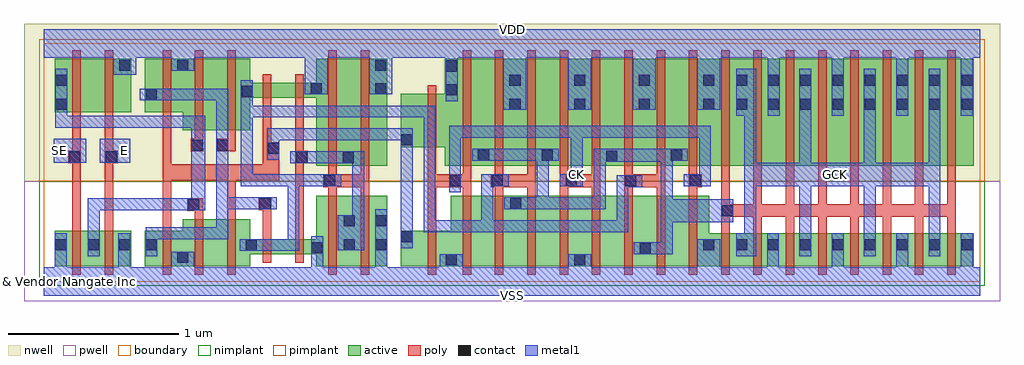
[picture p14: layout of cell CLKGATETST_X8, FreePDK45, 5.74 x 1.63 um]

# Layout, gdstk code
import gdstk
lib = gdstk.Library(unit=1e-6, precision=1e-09)
def R(c, l, rs):  # rectangles x0, y0, x1, y1
    for r in rs: c.add(gdstk.rectangle(r[:2], r[2:], *l))
def A(c, l, x, y, w, h, nx, ny, dx, dy):  # array of equal rectangles
    R(c, l, [(x+i*dx, y+j*dy, x+i*dx+w, y+j*dy+h) for i in range(nx) for j in range(ny)])
def P(c, l, *ps):  # polygons
    for p in ps: c.add(gdstk.Polygon(p, *l))
active = (1, 0)
pwell = (2, 0)
nwell = (3, 0)
nimplant = (4, 0)
pimplant = (5, 0)
poly = (9, 0)
contact = (10, 0)
metal1 = (11, 0)
boundary = (235, 0)

clkgatetst_x8 = lib.new_cell('CLKGATETST_X8')
R(clkgatetst_x8, active, [(0.065,0.09,0.515,0.3), (0.065,0.995,0.515,1.31)])
P(clkgatetst_x8, active, [(0.595,0.09),(1.215,0.09),(1.215,0.16),(1.605,0.16),(1.605,0.09),(2.02,0.09),(2.02,0.505),(1.605,0.505),(1.605,0.25),(1.215,0.25),(1.215,0.365),(0.82,0.365),(0.82,0.3),(0.595,0.3)],
  [(0.595,0.995),(0.82,0.995),(0.82,0.89),(1.215,0.89),(1.215,1.08),(1.605,1.08),(1.605,0.68),(2.02,0.68),(2.02,1.31),(1.605,1.31),(1.605,1.17),(1.215,1.17),(1.215,1.31),(0.595,1.31)],
  [(2.1,0.09),(5.47,0.09),(5.47,0.285),(3.915,0.285),(3.915,0.505),(2.395,0.505),(2.395,0.3),(2.1,0.3)],
  [(2.1,0.79),(2.36,0.79),(2.36,0.68),(5.47,0.68),(5.47,1.31),(2.36,1.31),(2.36,1.105),(2.1,1.105)])
R(clkgatetst_x8, pwell, [(-0.115,-0.115,5.625,0.59)])
R(clkgatetst_x8, nwell, [(-0.115,0.59,5.625,1.515)])
R(clkgatetst_x8, nimplant, [(-0.025,-0.025,5.535,0.59)])
R(clkgatetst_x8, pimplant, [(-0.025,0.59,5.535,1.425)])
P(clkgatetst_x8, poly, [(0.145,0.695),(0.17,0.695),(0.17,0.04),(0.22,0.04),(0.22,1.36),(0.17,1.36),(0.17,0.77),(0.145,0.77)],
  [(0.36,0.04),(0.41,0.04),(0.41,0.695),(0.435,0.695),(0.435,0.77),(0.41,0.77),(0.41,1.36),(0.36,1.36)],
  [(0.845,0.415),(0.89,0.415),(0.89,0.04),(0.94,0.04),(0.94,0.49),(0.845,0.49)],
  [(0.865,0.765),(0.94,0.765),(0.94,1.36),(0.89,1.36),(0.89,0.84),(0.865,0.84)],
  [(1.015,0.765),(1.13,0.765),(1.13,1.36),(1.08,1.36),(1.08,0.84),(1.015,0.84)],
  [(1.265,0.42),(1.29,0.42),(1.29,0.11),(1.34,0.11),(1.34,0.495),(1.265,0.495)],
  [(0.7,0.04),(0.75,0.04),(0.75,0.595),(1.08,0.595),(1.08,0.04),(1.13,0.04),(1.13,0.595),(1.385,0.595),(1.385,0.82),(1.34,0.82),(1.34,1.22),(1.29,1.22),(1.29,0.69),(0.75,0.69),(0.75,1.36),(0.7,1.36)],
  [(1.48,0.11),(1.53,0.11),(1.53,0.695),(1.555,0.695),(1.555,0.77),(1.53,0.77),(1.53,1.22),(1.48,1.22)],
  [(1.645,0.555),(1.675,0.555),(1.675,0.04),(1.725,0.04),(1.725,0.555),(1.865,0.555),(1.865,0.04),(1.915,0.04),(1.915,1.36),(1.865,1.36),(1.865,0.63),(1.725,0.63),(1.725,1.36),(1.675,1.36),(1.675,0.63),(1.645,0.63)],
  [(2.26,0.04),(2.31,0.04),(2.31,0.555),(2.465,0.555),(2.465,0.04),(2.515,0.04),(2.515,1.36),(2.465,1.36),(2.465,0.63),(2.31,0.63),(2.31,1.155),(2.26,1.155)],
  [(2.63,0.555),(2.655,0.555),(2.655,0.04),(2.705,0.04),(2.705,0.555),(2.845,0.555),(2.845,0.04),(2.895,0.04),(2.895,1.36),(2.845,1.36),(2.845,0.63),(2.705,0.63),(2.705,1.36),(2.655,1.36),(2.655,0.63),(2.63,0.63)],
  [(3.035,0.04),(3.085,0.04),(3.085,0.555),(3.225,0.555),(3.225,0.04),(3.275,0.04),(3.275,1.36),(3.225,1.36),(3.225,0.63),(3.085,0.63),(3.085,1.36),(3.035,1.36)],
  [(3.415,0.04),(3.465,0.04),(3.465,0.555),(3.605,0.555),(3.605,0.04),(3.655,0.04),(3.655,1.36),(3.605,1.36),(3.605,0.63),(3.465,0.63),(3.465,1.36),(3.415,1.36)],
  [(3.795,0.04),(3.845,0.04),(3.845,0.555),(3.87,0.555),(3.87,0.63),(3.845,0.63),(3.845,1.36),(3.795,1.36)],
  [(3.985,0.04),(4.035,0.04),(4.035,0.38),(4.175,0.38),(4.175,0.04),(4.225,0.04),(4.225,0.38),(4.365,0.38),(4.365,0.04),(4.415,0.04),(4.415,0.38),(4.555,0.38),(4.555,0.04),(4.605,0.04),(4.605,0.38),(4.745,0.38),(4.745,0.04),(4.795,0.04),(4.795,0.38),(4.935,0.38),(4.935,0.04),(4.985,0.04),(4.985,0.38),(5.125,0.38),(5.125,0.04),(5.175,0.04),(5.175,0.38),(5.315,0.38),(5.315,0.04),(5.365,0.04),(5.365,1.36),(5.315,1.36),(5.315,0.455),(5.175,0.455),(5.175,1.36),(5.125,1.36),(5.125,0.455),(4.985,0.455),(4.985,1.36),(4.935,1.36),(4.935,0.455),(4.795,0.455),(4.795,1.36),(4.745,1.36),(4.745,0.455),(4.605,0.455),(4.605,1.36),(4.555,1.36),(4.555,0.455),(4.415,0.455),(4.415,1.36),(4.365,1.36),(4.365,0.455),(4.225,0.455),(4.225,1.36),(4.175,1.36),(4.175,0.455),(4.035,0.455),(4.035,1.36),(3.985,1.36)])
A(clkgatetst_x8, contact, 4.26, 0.185, 0.065, 0.065, 7, 2, 0.19, 0.825)
A(clkgatetst_x8, contact, 2.74, 1.01, 0.065, 0.065, 4, 2, 0.38, 0.14)
A(clkgatetst_x8, contact, 4.26, 1.15, 0.065, 0.065, 7, 1, 0.19, 0)
R(clkgatetst_x8, contact, [(2.365,0.095,2.43,0.16), (3.12,0.095,3.185,0.16), (0.785,0.11,0.85,0.175), (3.505,0.16,3.57,0.225), (1.575,0.165,1.64,0.23), (1.19,0.18,1.255,0.245), (0.07,0.185,0.135,0.25), (0.26,0.185,0.325,0.25), (0.445,0.185,0.51,0.25), (0.6,0.185,0.665,0.25), (1.765,0.185,1.83,0.25), (1.95,0.185,2.015,0.25), (3.88,0.185,3.945,0.25), (4.075,0.185,4.14,0.25), (2.105,0.23,2.17,0.295), (1.765,0.325,1.83,0.39), (1.95,0.325,2.015,0.39), (3.99,0.385,4.055,0.45), (0.85,0.42,0.915,0.485), (1.27,0.425,1.335,0.49), (2.745,0.425,2.81,0.49), (1.65,0.56,1.715,0.625), (2.39,0.56,2.455,0.625), (2.635,0.56,2.7,0.625), (3.07,0.56,3.135,0.625), (3.42,0.56,3.485,0.625), (3.8,0.56,3.865,0.625), (1.76,0.695,1.825,0.76), (0.15,0.7,0.215,0.765), (0.365,0.7,0.43,0.765), (1.485,0.7,1.55,0.765), (3.31,0.705,3.375,0.77), (2.555,0.71,2.62,0.775), (2.93,0.71,2.995,0.775), (3.69,0.71,3.755,0.775), (1.32,0.75,1.385,0.815), (0.87,0.77,0.935,0.835), (1.02,0.77,1.085,0.835), (2.105,0.8,2.17,0.865), (0.07,1.01,0.135,1.075), (4.075,1.01,4.14,1.075), (0.6,1.065,0.665,1.13), (1.165,1.085,1.23,1.15), (2.365,1.095,2.43,1.16), (1.57,1.1,1.635,1.165), (1.95,1.1,2.015,1.165), (0.07,1.15,0.135,1.215), (4.075,1.15,4.14,1.215), (2.365,1.235,2.43,1.3), (0.445,1.24,0.51,1.305), (0.785,1.24,0.85,1.305), (1.95,1.24,2.015,1.305)])
R(clkgatetst_x8, metal1, [(0.06,0.7,0.25,0.84), (0.33,0.7,0.51,0.84)])
P(clkgatetst_x8, metal1, [(0.07,0.905),(0.87,0.905),(0.87,0.49),(0.26,0.49),(0.26,0.15),(0.33,0.15),(0.33,0.42),(0.95,0.42),(0.95,0.975),(0.14,0.975),(0.14,1.25),(0.07,1.25)],
  [(0.565,1.065),(1.015,1.065),(1.015,0.32),(0.6,0.32),(0.6,0.15),(0.67,0.15),(0.67,0.25),(1.085,0.25),(1.085,0.425),(1.37,0.425),(1.37,0.495),(1.085,0.495),(1.085,1.135),(0.565,1.135)],
  [(1.45,0.695),(1.815,0.695),(1.815,0.39),(1.73,0.39),(1.73,0.185),(1.885,0.185),(1.885,0.765),(1.45,0.765)],
  [(1.315,0.715),(1.385,0.715),(1.385,0.83),(2.1,0.83),(2.1,0.195),(2.17,0.195),(2.17,0.9),(1.315,0.9)],
  [(1.23,0.965),(2.235,0.965),(2.235,0.29),(3.44,0.29),(3.44,0.555),(3.52,0.555),(3.52,0.625),(3.37,0.625),(3.37,0.36),(2.645,0.36),(2.645,0.56),(2.735,0.56),(2.735,0.63),(2.575,0.63),(2.575,0.36),(2.305,0.36),(2.305,1.035),(1.23,1.035),(1.23,1.185),(1.16,1.185),(1.16,0.56),(1.435,0.56),(1.435,0.25),(1.155,0.25),(1.155,0.18),(1.505,0.18),(1.505,0.56),(1.75,0.56),(1.75,0.63),(1.23,0.63)],
  [(2.385,0.525),(2.455,0.525),(2.455,0.845),(3.1,0.845),(3.1,0.63),(3.035,0.63),(3.035,0.56),(3.17,0.56),(3.17,0.845),(3.855,0.845),(3.855,0.63),(3.765,0.63),(3.765,0.56),(3.925,0.56),(3.925,0.915),(2.385,0.915)],
  [(2.52,0.71),(2.9,0.71),(2.9,0.495),(2.71,0.495),(2.71,0.425),(3.305,0.425),(3.305,0.705),(3.63,0.705),(3.63,0.23),(3.47,0.23),(3.47,0.16),(3.7,0.16),(3.7,0.35),(4.055,0.35),(4.055,0.485),(3.7,0.485),(3.7,0.71),(3.79,0.71),(3.79,0.78),(3.235,0.78),(3.235,0.495),(2.97,0.495),(2.97,0.71),(3.03,0.71),(3.03,0.78),(2.52,0.78)],
  [(4.075,0.975),(4.12,0.975),(4.12,0.285),(4.075,0.285),(4.075,0.15),(4.19,0.15),(4.19,0.56),(4.445,0.56),(4.445,0.15),(4.515,0.15),(4.515,0.56),(4.825,0.56),(4.825,0.15),(4.895,0.15),(4.895,0.56),(5.205,0.56),(5.205,0.15),(5.275,0.15),(5.275,1.25),(5.205,1.25),(5.205,0.7),(4.895,0.7),(4.895,1.25),(4.825,1.25),(4.825,0.7),(4.515,0.7),(4.515,1.25),(4.445,1.25),(4.445,0.7),(4.19,0.7),(4.19,1.25),(4.075,1.25)],
  [(0,-0.085),(5.51,-0.085),(5.51,0.085),(5.465,0.085),(5.465,0.285),(5.395,0.285),(5.395,0.085),(5.085,0.085),(5.085,0.285),(5.015,0.285),(5.015,0.085),(4.705,0.085),(4.705,0.285),(4.635,0.285),(4.635,0.085),(4.325,0.085),(4.325,0.285),(4.255,0.285),(4.255,0.085),(3.98,0.085),(3.98,0.25),(3.845,0.25),(3.845,0.085),(3.22,0.085),(3.22,0.16),(3.085,0.16),(3.085,0.085),(2.465,0.085),(2.465,0.16),(2.33,0.16),(2.33,0.085),(2.02,0.085),(2.02,0.425),(1.95,0.425),(1.95,0.085),(1.645,0.085),(1.645,0.265),(1.575,0.265),(1.575,0.085),(0.885,0.085),(0.885,0.175),(0.75,0.175),(0.75,0.085),(0.51,0.085),(0.51,0.285),(0.44,0.285),(0.44,0.085),(0.135,0.085),(0.135,0.285),(0.065,0.285),(0.065,0.085),(0,0.085)],
  [(0,1.315),(0.41,1.315),(0.41,1.215),(0.545,1.215),(0.545,1.315),(0.75,1.315),(0.75,1.24),(0.885,1.24),(0.885,1.315),(1.535,1.315),(1.535,1.1),(1.67,1.1),(1.67,1.315),(1.915,1.315),(1.915,1.1),(2.05,1.1),(2.05,1.315),(2.365,1.315),(2.365,1.06),(2.435,1.06),(2.435,1.315),(2.705,1.315),(2.705,1.01),(2.84,1.01),(2.84,1.315),(3.085,1.315),(3.085,1.01),(3.22,1.01),(3.22,1.315),(3.465,1.315),(3.465,1.01),(3.6,1.01),(3.6,1.315),(3.845,1.315),(3.845,1.01),(3.98,1.01),(3.98,1.315),(4.26,1.315),(4.26,0.975),(4.33,0.975),(4.33,1.315),(4.635,1.315),(4.635,0.975),(4.705,0.975),(4.705,1.315),(5.015,1.315),(5.015,0.975),(5.085,0.975),(5.085,1.315),(5.395,1.315),(5.395,0.975),(5.465,0.975),(5.465,1.315),(5.51,1.315),(5.51,1.485),(0,1.485)])
R(clkgatetst_x8, boundary, [(0,0,5.51,1.4)])
clkgatetst_x8.add(gdstk.Label('CK', (3.135,0.63), layer=11, texttype=0))
clkgatetst_x8.add(gdstk.Label('E', (0.475,0.77), layer=11, texttype=0))
clkgatetst_x8.add(gdstk.Label('GCK', (4.655,0.63), layer=11, texttype=0))
clkgatetst_x8.add(gdstk.Label('SE', (0.095,0.77), layer=11, texttype=0))
clkgatetst_x8.add(gdstk.Label('VDD', (2.755,1.485), layer=11, texttype=0))
clkgatetst_x8.add(gdstk.Label('VSS', (2.755,-0.085), layer=11, texttype=0))
clkgatetst_x8.add(gdstk.Label('& Vendor Nangate Inc', (0,0), layer=63, texttype=63))
clkgatetst_x8.add(gdstk.Label('& Product Open Cell Library', (0,0), layer=63, texttype=63))
clkgatetst_x8.add(gdstk.Label('& Version 2010_12', (0,0), layer=63, texttype=63))
clkgatetst_x8.add(gdstk.Label('& Instance CLKGATETST_X8', (0,0), layer=63, texttype=63))

lib.write_gds('CLKGATETST_X8.gds')
